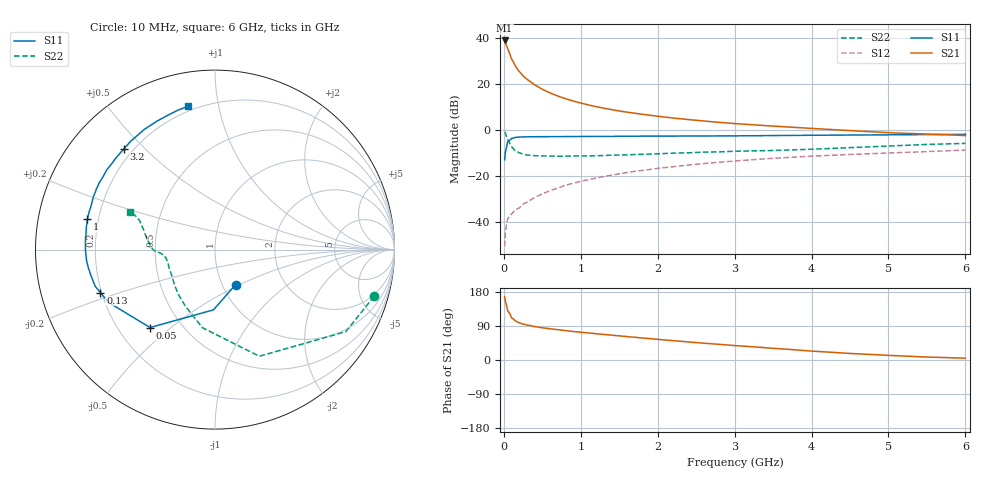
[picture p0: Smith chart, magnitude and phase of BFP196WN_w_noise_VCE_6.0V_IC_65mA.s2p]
! Infineon Technologies  Discrete & RF Semiconductors
! BFP196WN
! VCE =  6.0 V,  IC =  65 mA
! Common Emitter S-Parameters:  Jan 2017
# GHz  S  MA  R  50
!  f  S11  S21  S12  S22
! GHz  MAG  ANG  MAG  ANG  MAG  ANG  MAG  ANG
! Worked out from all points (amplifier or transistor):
!   77 points, 10 MHz to 6 GHz, reference 50 ohm
!   highest |S21| = 39.0 dB at 10 MHz (marker M1)
!   |S21| within 3 dB of that: start of sweep to 42.7 MHz
!   unconditionally stable (mu >= 1): 587 MHz to 2.643 GHz
!   at 130 MHz: K = 0.61, MSG = 32.3 dB, |S12| = -35.3 dB
!   at 2.2 GHz: K = 1.02, MAG = 9.8 dB, |S12| = -15.9 dB
!   at 6 GHz: K = 0.91, MSG = 3.1 dB, |S12| = -8.6 dB
!   lowest NFmin = 1.43 dB at 450 MHz
!   S11 on the Smith chart (normalised r, x): 10 MHz: 1.15, -0.48; 50 MHz: 0.33, -0.43; 130 MHz: 0.20, -0.18; 1 GHz: 0.16, +0.11; 3.2 GHz: 0.17, +0.43; 6 GHz: 0.17, +0.81
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0.01  0.2269 -59.7  89.61 167.0  0.003 82.5  0.9244 -16.3
0.02  0.3359 -91.5  81.47 154.2  0.0061 73.0  0.8603 -32.1
0.05  0.565 -129.8  59.18 129.3  0.0118 55.0  0.6434 -67.4
0.1  0.6622 -153.6  35.45 111.3  0.0149 52.0  0.4412 -99.0
0.13  0.6818 -159.4  29.03 107.1  0.0171 51.7  0.3855 -109.1
0.15  0.6985 -163.1  24.87 103.1  0.0186 51.5  0.3567 -117.4
0.2  0.7071 -168.8  18.93 98.2  0.0203 56.3  0.3223 -129.4
0.25  0.714 -172.4  15.28 94.8  0.0246 58.8  0.3026 -137.2
0.3  0.7181 -175.2  12.81 92.3  0.0271 61.5  0.2891 -143.7
0.4  0.7216 -179.4  9.682 88.2  0.0342 65.4  0.2786 -151.4
0.5  0.7229 177.5  7.757 85.1  0.0413 66.8  0.2759 -157.0
0.6  0.7241 174.8  6.481 82.4  0.0484 68.1  0.2739 -161.1
0.8  0.7276 170.4  4.861 77.6  0.0631 70.1  0.2722 -165.6
1  0.7303 166.6  3.894 73.3  0.0771 69.7  0.2759 -169.1
1.1  0.7316 164.6  3.543 71.4  0.0843 69.7  0.2768 -170.2
1.5  0.7366 157.8  2.622 63.7  0.1125 67.6  0.2876 -174.0
2.1  0.7441 148.4  1.926 52.8  0.1542 63.8  0.3118 -176.9
3.1  0.7549 133.5  1.359 36.8  0.2197 55.6  0.3513 178.7
3.2  0.7568 132.1  1.325 35.4  0.2259 54.7  0.354 178.0
4.1  0.7779 119.3  1.071 22.3  0.2771 46.9  0.3916 169.1
5.1  0.7949 108.5  0.871 11.3  0.3235 39.3  0.4593 158.3
6  0.8125 100.7  0.765 4.8  0.3707 33.2  0.5166 155.9
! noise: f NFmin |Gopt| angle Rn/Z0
0.45  1.43  0.56  -176  0.05
0.9  1.55  0.58  -169  0.06
1.9  2.48  0.69  -147  0.18
2.4  3.26  0.7  -139  0.31
